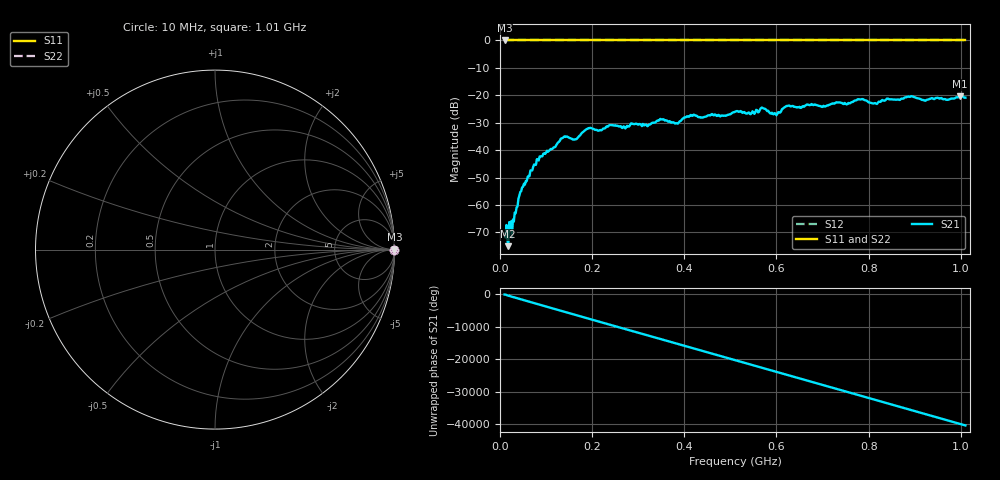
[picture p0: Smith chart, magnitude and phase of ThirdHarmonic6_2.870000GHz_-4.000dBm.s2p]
! 8/17/2025 7:50:24 AM
! C:\ANRITSUVNA\TEMP\TEMP.S2P
! CHANNEL.1
! TR.MEASUREMENT
! RAW.DATA
! RF.CORRECTION.OFF
! AVERAGING.OFF
! IF.BANDWIDTH: 5KHZ
! SWEEPTYPE:  FREQ.SWEEP(Linear)
! Reference Plane Port Info
! PORT:  PORT1  PORT2
! DISTANCE:  0  m  0  m
! TIME:  0  s  0  s
! PHASE.OFFSET:  0  deg.  0  deg.
! LOSS:  0  dB  0  dB
! REF.LOSS:  0  dB  0  dB
! REF.FREQ:  0  Hz  0  Hz
! Power Info
! POWER:  -20  dBm  -20  dBm
! EFF.POWER:  -20  dBm  -20  dBm
! SOURCE.ATTEN:  0  dB  0  dB
! TEST.ATTEN:  0  dB  0  dB
# GHZ S RI R 50.0
! FREQ.GHZ  S11RE  S11IM  S21RE  S21IM  S12RE  S12IM  S22RE  S22IM
!; PortSelection: Port_12
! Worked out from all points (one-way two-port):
!   501 points, 10 MHz to 1.01 GHz, reference 50 ohm
!   highest |S21| = -20.30 dB at 998 MHz (marker M1); lowest = -75.0 dB at 18 MHz (marker M2)
!   lowest |S11| = 0.0 dB at 10 MHz (marker M3)
!   |S11| at or under -10 dB: nowhere
!   |S22| runs from 0.0 to 0.0 dB; largest |S21 - S12| = 1.1
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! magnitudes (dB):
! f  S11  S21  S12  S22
! 10 MHz  0.0  -70.8  0.0  0.0
! 14 MHz  0.0  -67.3  0.0  0.0
! 18 MHz  0.0  -75.0  0.0  0.0
! 30 MHz  0.0  -66.1  0.0  0.0
! 48 MHz  0.0  -53.6  0.0  0.0
! 84 MHz  0.0  -43.8  0.0  0.0
! 136 MHz  0.0  -35.6  0.0  0.0
! 162 MHz  0.0  -36.2  0.0  0.0
! 178 MHz  0.0  -33.7  0.0  0.0
! 194 MHz  0.0  -32.0  0.0  0.0
! 322 MHz  0.0  -31.0  0.0  0.0
! 344 MHz  0.0  -29.3  0.0  0.0
! 384 MHz  0.0  -30.1  0.0  0.0
! 416 MHz  0.0  -27.4  0.0  0.0
! 510 MHz  0.0  -26.0  0.0  0.0
! 570 MHz  0.0  -24.6  0.0  0.0
! 598 MHz  0.0  -26.7  0.0  0.0
! 624 MHz  0.0  -23.9  0.0  0.0
! 678 MHz  0.0  -23.4  0.0  0.0
! 844 MHz  0.0  -21.4  0.0  0.0
! 998 MHz  0.0  -20.3  0.0  0.0
! 1.01 GHz  0.0  -20.9  0.0  0.0
